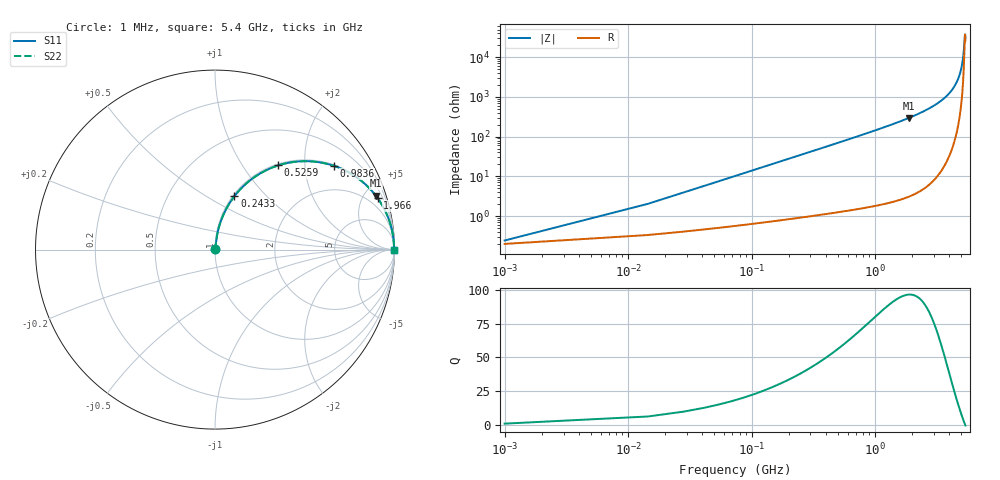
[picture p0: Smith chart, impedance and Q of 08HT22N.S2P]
! Coilcraft 0805HT-22N Chip Inductor
! 24 June 2002
# MHZ S MA R 50
!Freq  MagS11  AngS11  MagS21  AngS21  MagS12  AngS12  MagS22  AngS22
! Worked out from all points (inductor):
!   403 points, 1 MHz to 5.4 GHz, reference 50 ohm
!   read as one part in series: L = 22 nH near 27.92 MHz
!   highest Q = 96.7 at 1.885 GHz (marker M1), where L = 25.1 nH
!   self-resonance near 5.358 GHz
!   S11 on the Smith chart (normalised r, x): 1 MHz: 1.00, +0.00; 243.3 MHz: 1.02, +0.67; 525.9 MHz: 1.03, +1.47; 983.6 MHz: 1.04, +2.81; 1.966 GHz: 1.06, +6.28; 5.4 GHz: open
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1  0.002409 34.9  0.998 -0.1  0.998 -0.1  0.002409 34.9
41.38  0.05703 82.2  0.9938 -3.3  0.9938 -3.3  0.05703 82.2
68.3  0.09366 81.3  0.9902 -5.4  0.9902 -5.4  0.09366 81.3
135.6  0.1832 77.3  0.9762 -10.5  0.9762 -10.5  0.1832 77.3
243.28  0.3169 70.0  0.94 -18.5  0.94 -18.5  0.3169 70.0
364.42  0.4478 62.2  0.8847 -26.6  0.8847 -26.6  0.4478 62.2
525.94  0.587 53.1  0.7995 -35.9  0.7995 -35.9  0.587 53.1
902.82  0.7841 37.6  0.6105 -51.6  0.6105 -51.6  0.7841 37.6
983.58  0.8103 35.2  0.5759 -54.1  0.5759 -54.1  0.8103 35.2
1347  0.8893 26.6  0.4475 -62.8  0.4475 -62.8  0.8893 26.6
1804.64  0.9392 19.5  0.3339 -69.9  0.3339 -69.9  0.9392 19.5
1885.4  0.9449 18.5  0.3178 -70.9  0.3178 -70.9  0.9449 18.5
1966.16  0.95 17.6  0.3026 -71.8  0.3026 -71.8  0.95 17.6
2706.46  0.9785 11.2  0.195 -78.1  0.195 -78.1  0.9785 11.2
3608.28  0.992 6.3  0.1089 -82.7  0.1089 -82.7  0.992 6.3
4510.1  0.9967 2.7  0.04696 -84.6  0.04696 -84.6  0.9967 2.7
4806.22  0.9972 1.7  0.02975 -83.8  0.02975 -83.8  0.9972 1.7
5035.04  0.9974 1.0  0.01729 -80.8  0.01729 -80.8  0.9974 1.0
5196.56  0.9974 0.5  0.008978 -73.1  0.008978 -73.1  0.9974 0.5
5344.62  0.9974 0.1  0.002824 -21.9  0.002824 -21.9  0.9974 0.1
5371.54  0.9974 -0.0  0.002651 6.4  0.002651 6.4  0.9974 -0.0
5400  0.9973 -0.1  0.003157 32.8  0.003157 32.8  0.9973 -0.1
